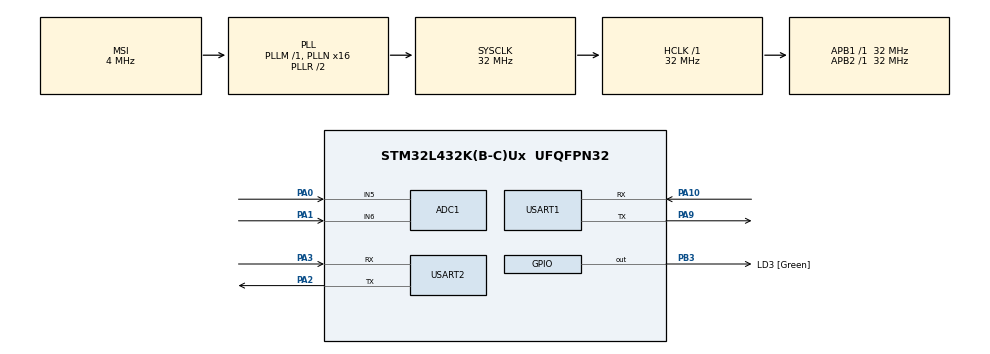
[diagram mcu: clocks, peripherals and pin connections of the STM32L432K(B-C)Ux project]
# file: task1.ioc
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ADC1.Channel-0\#ChannelRegularConversion=ADC_CHANNEL_5
ADC1.NbrOfConversionFlag=1
ADC1.OffsetNumber-0\#ChannelRegularConversion=ADC_OFFSET_NONE
ADC1.Rank-0\#ChannelRegularConversion=1
ADC1.SamplingTime-0\#ChannelRegularConversion=ADC_SAMPLETIME_2CYCLES_5
ADC1.master=1
Mcu.Family=STM32L4
Mcu.Name=STM32L432K(B-C)Ux
Mcu.Package=UFQFPN32
NVIC.PriorityGroup=NVIC_PRIORITYGROUP_4
PA0.Signal=ADCx_IN5
PA1.Signal=ADCx_IN6
PA10.Mode=Asynchronous
PA10.Signal=USART1_RX
PA13\ (JTMS-SWDIO).GPIO_Label=SWDIO
PA13\ (JTMS-SWDIO).Mode=Serial_Wire
PA13\ (JTMS-SWDIO).Signal=SYS_JTMS-SWDIO
PA14\ (JTCK-SWCLK).GPIO_Label=SWCLK
PA14\ (JTCK-SWCLK).Mode=Serial_Wire
PA14\ (JTCK-SWCLK).Signal=SYS_JTCK-SWCLK
PA2.Mode=Asynchronous
PA2.Signal=USART2_TX
PA3.Mode=Asynchronous
PA3.Signal=USART2_RX
PA9.Mode=Asynchronous
PA9.Signal=USART1_TX
PB3\ (JTDO-TRACESWO).GPIO_Label=LD3 [Green]
PB3\ (JTDO-TRACESWO).Signal=GPIO_Output
PC14-OSC32_IN\ (PC14).Mode=LSE-External-Oscillator
PC14-OSC32_IN\ (PC14).Signal=RCC_OSC32_IN
PC15-OSC32_OUT\ (PC15).Mode=LSE-External-Oscillator
PC15-OSC32_OUT\ (PC15).Signal=RCC_OSC32_OUT
ProjectManager.HeapSize=0x200
ProjectManager.StackSize=0x400
ProjectManager.TargetToolchain=STM32CubeIDE
RCC.AHBFreq_Value=32000000
RCC.APB1Freq_Value=32000000
RCC.APB1TimFreq_Value=32000000
RCC.APB2Freq_Value=32000000
RCC.APB2TimFreq_Value=32000000
RCC.CortexFreq_Value=32000000
RCC.HCLKFreq_Value=32000000
RCC.HSE_VALUE=8000000
RCC.HSI16_VALUE=16000000
RCC.HSI48_VALUE=48000000
RCC.HSI_VALUE=16000000
RCC.MSI_VALUE=4000000
RCC.PLLMUL=RCC_PLLMUL_4
RCC.PLLN=16
RCC.SYSCLKFreq_VALUE=32000000
RCC.SYSCLKSource=RCC_SYSCLKSOURCE_PLLCLK
RCC.VCOOutputFreq_Value=64000000
SH.ADCx_IN5.0=ADC1_IN5,IN5-Single-Ended
SH.ADCx_IN6.0=ADC1_IN6,IN6-Single-Ended
USART1.VirtualMode-Asynchronous=VM_ASYNC
USART2.VirtualMode-Asynchronous=VM_ASYNC
board=NUCLEO-L432KC

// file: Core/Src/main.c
/* USER CODE BEGIN Header */
/**
  ******************************************************************************
  * @file           : main.c
  * @brief          : Main program body
  ******************************************************************************
  * @attention
  *
  * Copyright (c) 2026 STMicroelectronics.
  * All rights reserved.
  *
  * This software is licensed under terms that can be found in the LICENSE file
  * in the root directory of this software component.
  * If no LICENSE file comes with this software, it is provided AS-IS.
  *
  ******************************************************************************
  */
/* USER CODE END Header */
#include "main.h"

/* USER CODE BEGIN Includes */
#include <string.h>
#include <stdio.h>
#include <math.h>

/* USER CODE END Includes */

ADC_HandleTypeDef hadc1;

UART_HandleTypeDef huart1;
UART_HandleTypeDef huart2;

void SystemClock_Config(void);
static void MX_GPIO_Init(void);
static void MX_USART2_UART_Init(void);
static void MX_ADC1_Init(void);
static void MX_USART1_UART_Init(void);
/* USER CODE BEGIN PFP */
double adcToTemperature(uint32_t adcValue);
uint32_t readADC(uint32_t channel);
/* USER CODE END PFP */

int main(void)
{

  /* USER CODE BEGIN 1 */

#define R_FIXED 10000.0
#define R0      100000.0
#define BETA    4261.0
#define T0      298.15
#define ADC_MAX 4095.0
#define V_REF   3.3

  /* USER CODE END 1 */

  /* MCU Configuration--------------------------------------------------------*/

  /* Reset of all peripherals, Initializes the Flash interface and the Systick. */
  HAL_Init();

  /* Configure the system clock */
  SystemClock_Config();

  /* Initialize all configured peripherals */
  MX_GPIO_Init();
  MX_USART2_UART_Init();
  MX_ADC1_Init();
  HAL_ADCEx_Calibration_Start(&hadc1, ADC_SINGLE_ENDED);  // <-- add this
  MX_USART1_UART_Init();

  /* Infinite loop */
  while (1)
  {

    /* USER CODE BEGIN 3 */
	  char uartMsg[120];

	  uint32_t adcValue1 = readADC(ADC_CHANNEL_5);
	  uint32_t adcValue2 = readADC(ADC_CHANNEL_6);
//
	  double temp1 = adcToTemperature(adcValue1);
	  double temp2 = adcToTemperature(adcValue2);

	  sprintf(uartMsg,
	  		  "T1 = %.2f C (ADC %lu) | T2 = %.2f C (ADC %lu)\r\n",
	  		  temp1, adcValue1, temp2, adcValue2);

	  HAL_UART_Transmit(&huart2, (uint8_t*)uartMsg, strlen(uartMsg), HAL_MAX_DELAY);

	  HAL_Delay(1000);
  }
  /* USER CODE END 3 */
}

void SystemClock_Config(void)
{
  RCC_OscInitTypeDef RCC_OscInitStruct = {0};
  RCC_ClkInitTypeDef RCC_ClkInitStruct = {0};

  /** Configure the main internal regulator output voltage
  */
  if (HAL_PWREx_ControlVoltageScaling(PWR_REGULATOR_VOLTAGE_SCALE1) != HAL_OK)
  {
    Error_Handler();
  }

  /** Configure LSE Drive Capability
  */
  HAL_PWR_EnableBkUpAccess();
  __HAL_RCC_LSEDRIVE_CONFIG(RCC_LSEDRIVE_LOW);

  /** Initializes the RCC Oscillators according to the specified parameters
  * in the RCC_OscInitTypeDef structure.
  */
  RCC_OscInitStruct.OscillatorType = RCC_OSCILLATORTYPE_LSE|RCC_OSCILLATORTYPE_MSI;
  RCC_OscInitStruct.LSEState = RCC_LSE_ON;
  RCC_OscInitStruct.MSIState = RCC_MSI_ON;
  RCC_OscInitStruct.MSICalibrationValue = 0;
  RCC_OscInitStruct.MSIClockRange = RCC_MSIRANGE_6;
  RCC_OscInitStruct.PLL.PLLState = RCC_PLL_ON;
  RCC_OscInitStruct.PLL.PLLSource = RCC_PLLSOURCE_MSI;
  RCC_OscInitStruct.PLL.PLLM = 1;
  RCC_OscInitStruct.PLL.PLLN = 16;
  RCC_OscInitStruct.PLL.PLLP = RCC_PLLP_DIV7;
  RCC_OscInitStruct.PLL.PLLQ = RCC_PLLQ_DIV2;
  RCC_OscInitStruct.PLL.PLLR = RCC_PLLR_DIV2;
  if (HAL_RCC_OscConfig(&RCC_OscInitStruct) != HAL_OK)
  {
    Error_Handler();
  }

  /** Initializes the CPU, AHB and APB buses clocks
  */
  RCC_ClkInitStruct.ClockType = RCC_CLOCKTYPE_HCLK|RCC_CLOCKTYPE_SYSCLK
                              |RCC_CLOCKTYPE_PCLK1|RCC_CLOCKTYPE_PCLK2;
  RCC_ClkInitStruct.SYSCLKSource = RCC_SYSCLKSOURCE_PLLCLK;
  RCC_ClkInitStruct.AHBCLKDivider = RCC_SYSCLK_DIV1;
  RCC_ClkInitStruct.APB1CLKDivider = RCC_HCLK_DIV1;
  RCC_ClkInitStruct.APB2CLKDivider = RCC_HCLK_DIV1;

  if (HAL_RCC_ClockConfig(&RCC_ClkInitStruct, FLASH_LATENCY_1) != HAL_OK)
  {
    Error_Handler();
  }

  /** Enable MSI Auto calibration
  */
  HAL_RCCEx_EnableMSIPLLMode();
}

static void MX_ADC1_Init(void)
{

  ADC_ChannelConfTypeDef sConfig = {0};

  /** Common config
  */
  hadc1.Instance = ADC1;
  hadc1.Init.ClockPrescaler = ADC_CLOCK_ASYNC_DIV1;
  hadc1.Init.Resolution = ADC_RESOLUTION_12B;
  hadc1.Init.DataAlign = ADC_DATAALIGN_RIGHT;
  hadc1.Init.ScanConvMode = ADC_SCAN_DISABLE;
  hadc1.Init.EOCSelection = ADC_EOC_SINGLE_CONV;
  hadc1.Init.LowPowerAutoWait = DISABLE;
  hadc1.Init.ContinuousConvMode = DISABLE;
  hadc1.Init.NbrOfConversion = 1;
  hadc1.Init.DiscontinuousConvMode = DISABLE;
  hadc1.Init.ExternalTrigConv = ADC_SOFTWARE_START;
  hadc1.Init.ExternalTrigConvEdge = ADC_EXTERNALTRIGCONVEDGE_NONE;
  hadc1.Init.DMAContinuousRequests = DISABLE;
  hadc1.Init.Overrun = ADC_OVR_DATA_PRESERVED;
  hadc1.Init.OversamplingMode = DISABLE;
  if (HAL_ADC_Init(&hadc1) != HAL_OK)
  {
    Error_Handler();
  }

  /** Configure Regular Channel
  */
  sConfig.Channel = ADC_CHANNEL_6;
  sConfig.Rank = ADC_REGULAR_RANK_1;
  sConfig.SamplingTime = ADC_SAMPLETIME_640CYCLES_5;
  sConfig.SingleDiff = ADC_SINGLE_ENDED;
  sConfig.OffsetNumber = ADC_OFFSET_NONE;
  sConfig.Offset = 0;
  if (HAL_ADC_ConfigChannel(&hadc1, &sConfig) != HAL_OK)
  {
    Error_Handler();
  }

}

static void MX_USART1_UART_Init(void)
{

  huart1.Instance = USART1;
  huart1.Init.BaudRate = 115200;
  huart1.Init.WordLength = UART_WORDLENGTH_8B;
  huart1.Init.StopBits = UART_STOPBITS_1;
  huart1.Init.Parity = UART_PARITY_NONE;
  huart1.Init.Mode = UART_MODE_TX_RX;
  huart1.Init.HwFlowCtl = UART_HWCONTROL_NONE;
  huart1.Init.OverSampling = UART_OVERSAMPLING_16;
  huart1.Init.OneBitSampling = UART_ONE_BIT_SAMPLE_DISABLE;
  huart1.AdvancedInit.AdvFeatureInit = UART_ADVFEATURE_NO_INIT;
  if (HAL_UART_Init(&huart1) != HAL_OK)
  {
    Error_Handler();
  }

}

static void MX_USART2_UART_Init(void)
{

  huart2.Instance = USART2;
  huart2.Init.BaudRate = 115200;
  huart2.Init.WordLength = UART_WORDLENGTH_8B;
  huart2.Init.StopBits = UART_STOPBITS_1;
  huart2.Init.Parity = UART_PARITY_NONE;
  huart2.Init.Mode = UART_MODE_TX_RX;
  huart2.Init.HwFlowCtl = UART_HWCONTROL_NONE;
  huart2.Init.OverSampling = UART_OVERSAMPLING_16;
  huart2.Init.OneBitSampling = UART_ONE_BIT_SAMPLE_DISABLE;
  huart2.AdvancedInit.AdvFeatureInit = UART_ADVFEATURE_NO_INIT;
  if (HAL_UART_Init(&huart2) != HAL_OK)
  {
    Error_Handler();
  }

}

static void MX_GPIO_Init(void)
{
  GPIO_InitTypeDef GPIO_InitStruct = {0};

  /* GPIO Ports Clock Enable */
  __HAL_RCC_GPIOC_CLK_ENABLE();
  __HAL_RCC_GPIOA_CLK_ENABLE();
  __HAL_RCC_GPIOB_CLK_ENABLE();

  /*Configure GPIO pin Output Level */
  HAL_GPIO_WritePin(LD3_GPIO_Port, LD3_Pin, GPIO_PIN_RESET);

  /*Configure GPIO pin : LD3_Pin */
  GPIO_InitStruct.Pin = LD3_Pin;
  GPIO_InitStruct.Mode = GPIO_MODE_OUTPUT_PP;
  GPIO_InitStruct.Pull = GPIO_NOPULL;
  GPIO_InitStruct.Speed = GPIO_SPEED_FREQ_LOW;
  HAL_GPIO_Init(LD3_GPIO_Port, &GPIO_InitStruct);

}

/* USER CODE BEGIN 4 */
double adcToTemperature(uint32_t adcValue)
{
    double Vout = (adcValue / ADC_MAX) * V_REF;

    double R_therm = R_FIXED * (Vout / (V_REF - Vout));

    double tempK = 1.0 / ((1.0 / T0) + (1.0 / BETA) * log(R_therm / R0));

    return tempK - 273.15;
}

// Read + average ADC channel
uint32_t readADC(uint32_t channel)
{
	ADC_ChannelConfTypeDef sConfig = {0};
	sConfig.Channel      = channel;
	sConfig.Rank         = ADC_REGULAR_RANK_1;
	sConfig.SamplingTime = ADC_SAMPLETIME_640CYCLES_5;  // <-- add this
	sConfig.SingleDiff   = ADC_SINGLE_ENDED;
	sConfig.OffsetNumber = ADC_OFFSET_NONE;
	sConfig.Offset       = 0;

    HAL_ADC_ConfigChannel(&hadc1, &sConfig);

    uint32_t sum = 0;

    // Dummy read (settling after channel switch)
    HAL_ADC_Start(&hadc1);
    HAL_ADC_PollForConversion(&hadc1, HAL_MAX_DELAY);
    (void)HAL_ADC_GetValue(&hadc1);

    // Average multiple samples
    for (int i = 0; i < 10; i++)
    {
        HAL_ADC_Start(&hadc1);
        HAL_ADC_PollForConversion(&hadc1, HAL_MAX_DELAY);
        sum += HAL_ADC_GetValue(&hadc1);
    }

    return sum / 10;
}
/* USER CODE END 4 */

void Error_Handler(void)
{
  __disable_irq();
  while (1)
  {
  }
}
